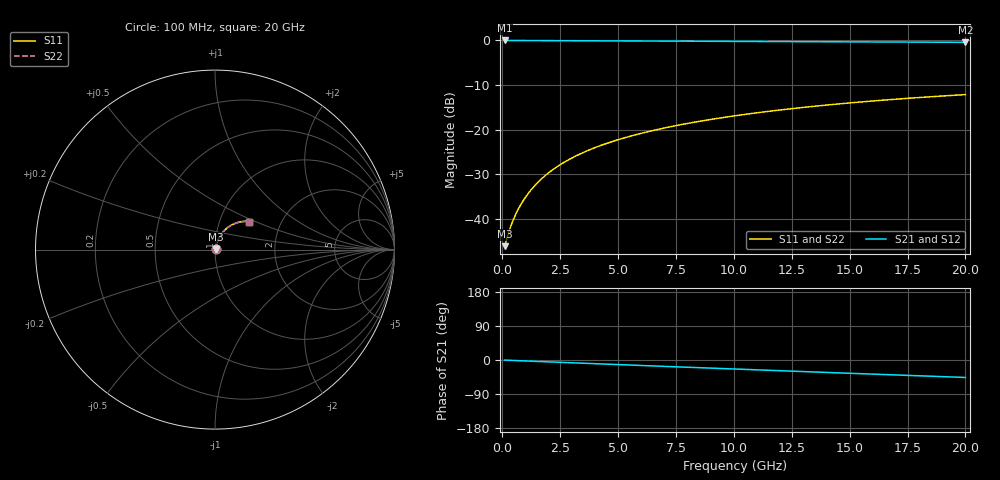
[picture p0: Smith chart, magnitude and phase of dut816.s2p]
! Touchstone file exported from HFSS 2026.1.0
!  File:  C:/ffzhzh/LocalFiles/Ansys_Project_Files/temp_train_TMRDL_816_1783156387_18472.aedt
!  Generated:  05:14:18 PM Jul  4, 2026
!  Design:  TMRDL
!  Project:  temp_train_TMRDL_816_1783156387_18472
! Variables:
!  h_bsmrdl = 2um
!  h_ox = 20um
!  h_rdl = 5um
!  h_sub = 80um
!  h_tmrdl = 5.26um
!  h_tsv = 80um
!  h_via = 3um
!  l_bsmrdl = 300um
!  l_sub = 1206.38um
!  l_tmrdl = 806.38um
!  m_sub = 200um
!  pitch = 21.76um
!  r_tsv = 6um
!  s_tmrdl = 10um
!  w_bsmrdl = 18um
!  w_sub = 500um
!  w_tmrdl = 12.09um
!  x_tsv_center1 = 812.425um
!  x_tsv_center2 = 1130.425um
!  x_tsv_center3 = 1948.895um
!  x_tsv_center4 = 2266.895um
!  x_tsv_center5 = 3085.365um
!  x_tsv_center6 = 3403.365um
# GHz S MA R 50.000000
! Terminal data exported
! Port[1] = TM_RDL1_1_T1
! Port[2] = TM_RDL1_1_T2
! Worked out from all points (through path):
!   200 points, 100 MHz to 20 GHz, reference 50 ohm
!   highest |S21| = -0.04 dB at 100 MHz (marker M1); lowest = -0.5 dB at 20 GHz (marker M2)
!   group delay of S21, straight-line fit = 6.38 ps
!   lowest |S11| = -46.1 dB at 100 MHz (marker M3), VSWR 1.01, Z = 50.5 + j0.193 ohm
!   |S11| at or under -10 dB: start of sweep to end of sweep
!   |S22| runs from -46.1 to -12.2 dB; largest |S21 - S12| = 2.8e-15
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0.1  0.004954 22.7  0.9954 -0.3  0.9954 -0.3  0.004954 22.7
! Gamma 0 0 0 0
! Port Impedance 50 0 50 0
0.3  0.007378 46.6  0.995 -0.8  0.995 -0.8  0.007378 46.6
0.4  0.008739 52.6  0.9948 -1.0  0.9948 -1.0  0.008739 52.6
0.6  0.01155 60.4  0.9945 -1.5  0.9945 -1.5  0.01155 60.4
0.7  0.013 63.0  0.9944 -1.8  0.9944 -1.8  0.013 63.0
0.9  0.01596 66.8  0.9942 -2.3  0.9942 -2.3  0.01596 66.8
1.1  0.01898 69.2  0.994 -2.7  0.994 -2.7  0.01898 69.3
1.3  0.02205 70.9  0.9937 -3.2  0.9937 -3.2  0.02204 70.9
1.7  0.02821 72.7  0.9932 -4.2  0.9932 -4.2  0.02821 72.7
2.2  0.03591 73.4  0.9924 -5.4  0.9924 -5.4  0.03591 73.5
2.8  0.04504 73.3  0.9914 -6.9  0.9914 -6.9  0.04503 73.4
3.5  0.05548 72.6  0.9899 -8.6  0.9899 -8.6  0.05548 72.6
4.2  0.06568 71.4  0.9884 -10.3  0.9884 -10.3  0.06568 71.5
5  0.07705 70.0  0.9865 -12.2  0.9865 -12.2  0.07704 70.0
5.9  0.08948 68.2  0.9844 -14.3  0.9844 -14.3  0.08947 68.3
6.8  0.1016 66.5  0.9822 -16.4  0.9822 -16.4  0.1016 66.5
8.3  0.1211 63.4  0.9785 -19.9  0.9785 -19.9  0.1211 63.5
10.1  0.1435 59.7  0.9739 -24.0  0.9739 -24.0  0.1434 59.8
11.7  0.1624 56.4  0.9699 -27.6  0.9699 -27.6  0.1624 56.5
13.4  0.1817 52.9  0.9655 -31.5  0.9655 -31.5  0.1817 53.0
16.7  0.2162 46.1  0.9569 -38.8  0.9569 -38.8  0.2161 46.2
20  0.2465 39.3  0.9485 -46.1  0.9485 -46.1  0.2464 39.4
